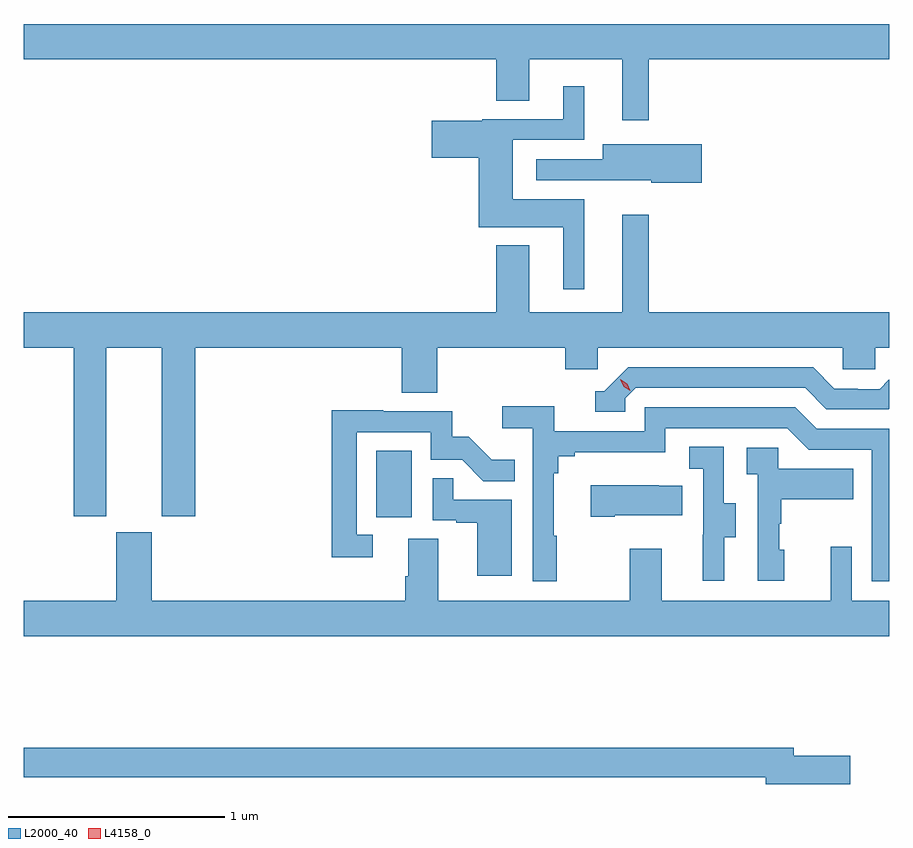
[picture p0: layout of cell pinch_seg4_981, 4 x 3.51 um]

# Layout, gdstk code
import gdstk
lib = gdstk.Library(unit=1e-6, precision=1e-09)
def R(c, l, rs):  # rectangles x0, y0, x1, y1
    for r in rs: c.add(gdstk.rectangle(r[:2], r[2:], *l))
def P(c, l, *ps):  # polygons
    for p in ps: c.add(gdstk.Polygon(p, *l))
L2000_40 = (2000, 40)
L4158_0 = (4158, 0)

pinch_seg4_981 = lib.new_cell('pinch_seg4_981')
R(pinch_seg4_981, L2000_40, [(850.412,782.718,850.576,783.025)])
P(pinch_seg4_981, L2000_40, [(851.671,784.832),(852.783,784.832),(852.783,784.996),(848.783,784.996),(848.783,784.832),(850.967,784.832),(850.967,784.642),(851.119,784.642),(851.119,784.832),(851.549,784.832),(851.549,784.551),(851.671,784.551)],
  [(851.374,784.186),(851.044,784.186),(851.044,784.461),(851.374,784.461),(851.374,784.708),(851.276,784.708),(851.276,784.557),(850.902,784.557),(850.902,784.549),(850.668,784.549),(850.668,784.379),(850.886,784.379),(850.886,784.058),(851.276,784.058),(851.276,783.771),(851.374,783.771)],
  [(851.917,784.44),(851.459,784.44),(851.459,784.371),(851.151,784.371),(851.151,784.275),(851.463,784.275),(851.463,784.274),(851.682,784.274),(851.682,784.262),(851.917,784.262)],
  [(849.166,783.5),(849.422,783.5),(849.422,782.721),(849.575,782.721),(849.575,783.5),(850.529,783.5),(850.529,783.292),(850.694,783.292),(850.694,783.5),(851.285,783.5),(851.285,783.402),(851.436,783.402),(851.436,783.5),(852.567,783.5),(852.567,783.402),(852.717,783.402),(852.717,783.5),(852.783,783.5),(852.783,783.664),(851.671,783.664),(851.671,784.114),(851.549,784.114),(851.549,783.664),(851.119,783.664),(851.119,783.973),(850.967,783.973),(850.967,783.664),(848.783,783.664),(848.783,783.5),(849.014,783.5),(849.014,782.721),(849.166,782.721)],
  [(851.562,783.267),(851.61,783.315),(852.393,783.315),(852.492,783.216),(852.781,783.216),(852.783,783.218),(852.783,783.352),(852.781,783.352),(852.739,783.309),(852.636,783.309),(852.636,783.312),(852.529,783.312),(852.43,783.411),(851.577,783.411),(851.466,783.3),(851.423,783.3),(851.423,783.204),(851.562,783.204)],
  [(851.245,782.633),(851.233,782.633),(851.233,782.921),(851.252,782.921),(851.252,782.998),(851.329,782.998),(851.329,783.017),(851.748,783.017),(851.748,783.129),(852.312,783.129),(852.411,783.03),(852.702,783.03),(852.702,782.421),(852.783,782.421),(852.783,783.126),(852.448,783.126),(852.349,783.225),(851.652,783.225),(851.652,783.114),(851.234,783.114),(851.234,783.23),(850.995,783.23),(850.995,783.128),(851.136,783.128),(851.136,782.421),(851.245,782.421)],
  [(850.396,782.637),(850.323,782.637),(850.323,783.111),(850.665,783.111),(850.665,782.982),(850.809,782.982),(850.907,782.884),(851.051,782.884),(851.051,782.983),(850.947,782.983),(850.84,783.09),(850.764,783.09),(850.764,783.207),(850.445,783.207),(850.445,783.212),(850.207,783.212),(850.207,782.532),(850.396,782.532)],
  [(852.019,782.626),(852.073,782.626),(852.073,782.781),(852.018,782.781),(852.018,783.044),(851.859,783.044),(851.859,782.941),(851.922,782.941),(851.922,782.637),(851.921,782.637),(851.921,782.424),(852.019,782.424)],
  [(852.298,782.568),(852.273,782.568),(852.273,782.687),(852.283,782.687),(852.283,782.801),(852.617,782.801),(852.617,782.941),(852.27,782.941),(852.27,783.039),(852.123,783.039),(852.123,782.915),(852.174,782.915),(852.174,782.424),(852.298,782.424)],
  [(851.038,782.799),(850.769,782.799),(850.769,782.897),(850.674,782.897),(850.674,782.703),(850.781,782.703),(850.781,782.691),(850.88,782.691),(850.88,782.448),(851.038,782.448)],
  [(851.515,782.726),(851.825,782.726),(851.825,782.863),(851.717,782.863),(851.717,782.866),(851.403,782.866),(851.403,782.719),(851.515,782.719)],
  [(852.783,782.332),(852.609,782.332),(852.609,782.581),(852.512,782.581),(852.512,782.332),(851.731,782.332),(851.731,782.572),(851.584,782.572),(851.584,782.332),(850.699,782.332),(850.699,782.618),(850.559,782.618),(850.559,782.444),(850.547,782.444),(850.547,782.332),(849.376,782.332),(849.376,782.649),(849.212,782.649),(849.212,782.332),(848.783,782.332),(848.783,782.168),(852.783,782.168)],
  [(852.601,781.616),(852.34,781.616),(852.34,781.652),(848.783,781.652),(848.783,781.516),(852.212,781.516),(852.212,781.485),(852.601,781.485)])
P(pinch_seg4_981, L4158_0, [(851.586,783.301),(851.556,783.321),(851.54,783.354),(851.54,783.354),(851.54,783.354),(851.571,783.334),(851.586,783.302),(851.586,783.301)])

lib.write_gds('pinch_seg4_981.gds')
